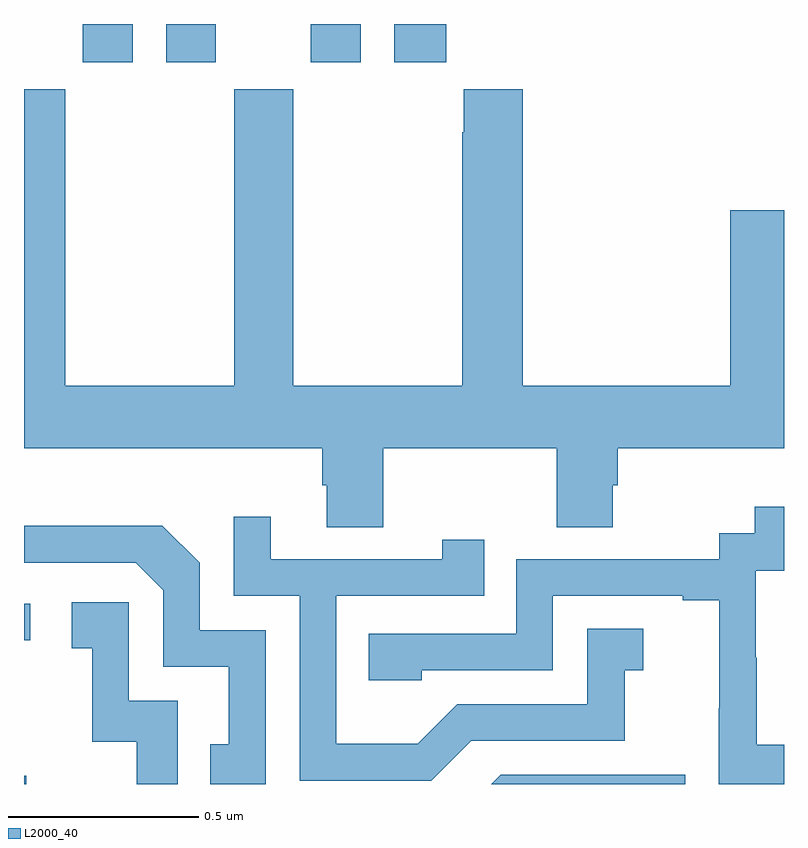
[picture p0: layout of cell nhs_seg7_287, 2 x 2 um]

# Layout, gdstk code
import gdstk
lib = gdstk.Library(unit=1e-6, precision=1e-09)
def R(c, l, rs):  # rectangles x0, y0, x1, y1
    for r in rs: c.add(gdstk.rectangle(r[:2], r[2:], *l))
def P(c, l, *ps):  # polygons
    for p in ps: c.add(gdstk.Polygon(p, *l))
L2000_40 = (2000, 40)

nhs_seg7_287 = lib.new_cell('nhs_seg7_287')
R(nhs_seg7_287, L2000_40, [(114,1065,114.006,1065.022), (114,1065.378,114.016,1065.474), (114.155,1066.899,114.286,1067), (114.374,1066.899,114.505,1067), (114.755,1066.899,114.886,1067), (114.974,1066.899,115.111,1067)])
P(nhs_seg7_287, L2000_40, [(114.945,1065.884),(115.402,1065.884),(115.402,1065.676),(115.549,1065.676),(115.549,1065.786),(115.562,1065.786),(115.562,1065.884),(116,1065.884),(116,1066.51),(115.859,1066.51),(115.859,1066.048),(115.313,1066.048),(115.313,1066.828),(115.157,1066.828),(115.157,1066.715),(115.153,1066.715),(115.153,1066.048),(114.708,1066.048),(114.708,1066.828),(114.553,1066.828),(114.553,1066.048),(114.108,1066.048),(114.108,1066.828),(114,1066.828),(114,1065.884),(114.785,1065.884),(114.785,1065.786),(114.797,1065.786),(114.797,1065.676),(114.945,1065.676)],
  [(116,1065.103),(115.928,1065.103),(115.928,1065.332),(115.926,1065.332),(115.926,1065.561),(116,1065.561),(116,1065.73),(115.923,1065.73),(115.923,1065.66),(115.83,1065.66),(115.83,1065.591),(115.296,1065.591),(115.296,1065.396),(114.907,1065.396),(114.907,1065.273),(115.047,1065.273),(115.047,1065.3),(115.392,1065.3),(115.392,1065.495),(115.733,1065.495),(115.733,1065.483),(115.829,1065.483),(115.829,1065.199),(115.828,1065.199),(115.828,1065),(116,1065)],
  [(115.177,1065.114),(115.581,1065.114),(115.581,1065.299),(115.63,1065.299),(115.63,1065.409),(115.482,1065.409),(115.482,1065.21),(115.14,1065.21),(115.036,1065.106),(114.822,1065.106),(114.822,1065.495),(115.211,1065.495),(115.211,1065.643),(115.1,1065.643),(115.1,1065.591),(114.649,1065.591),(114.649,1065.703),(114.552,1065.703),(114.552,1065.495),(114.726,1065.495),(114.726,1065.009),(115.072,1065.009)],
  [(114.636,1065.405),(114.462,1065.405),(114.462,1065.582),(114.364,1065.68),(114,1065.68),(114,1065.582),(114.294,1065.582),(114.366,1065.51),(114.366,1065.309),(114.539,1065.309),(114.539,1065.105),(114.49,1065.105),(114.49,1065),(114.636,1065)],
  [(114.405,1065.219),(114.276,1065.219),(114.276,1065.478),(114.126,1065.478),(114.126,1065.357),(114.179,1065.357),(114.179,1065.111),(114.297,1065.111),(114.297,1065),(114.405,1065)],
  [(115.74,1065.024),(115.254,1065.024),(115.23,1065),(115.74,1065)])

lib.write_gds('nhs_seg7_287.gds')
